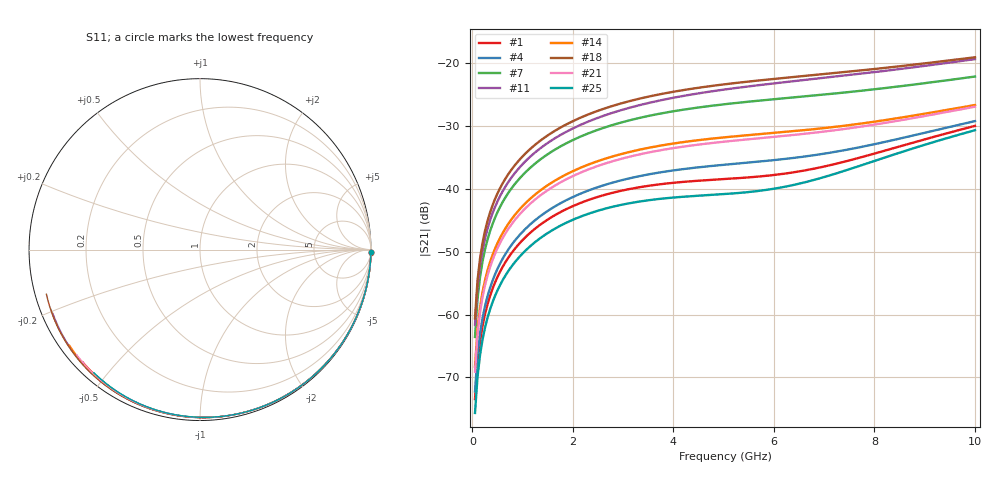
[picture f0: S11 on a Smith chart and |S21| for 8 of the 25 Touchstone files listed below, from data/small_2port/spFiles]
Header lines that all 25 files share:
! freq	dB(S11)	phase(S11)	dB(S12)	phase(S12)
!  dB(S21)	phase(S21)	dB(S22)	phase(S22)
!S-par simulation data
#  GHz  S  DB  R 50
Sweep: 50 MHz to 10 GHz
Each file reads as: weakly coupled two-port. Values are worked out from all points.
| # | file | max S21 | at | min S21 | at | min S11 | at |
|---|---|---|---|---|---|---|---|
| 1 | randomSmallGDS_pixelSize=8_sim=603.s2p | -29.95 dB | 10 GHz | -73.5 dB | 50 MHz | -0.5 dB | 10 GHz |
| 2 | randomSmallGDS_pixelSize=8_sim=604.s2p | -29.60 dB | 10 GHz | -72.7 dB | 50 MHz | -0.4 dB | 10 GHz |
| 3 | randomSmallGDS_pixelSize=8_sim=607.s2p | -30.90 dB | 10 GHz | -77.8 dB | 50 MHz | -0.4 dB | 10 GHz |
| 4 | randomSmallGDS_pixelSize=8_sim=609.s2p | -29.19 dB | 10 GHz | -72.3 dB | 50 MHz | -0.4 dB | 10 GHz |
| 5 | randomSmallGDS_pixelSize=8_sim=610.s2p | -29.59 dB | 10 GHz | -72.7 dB | 50 MHz | -0.4 dB | 10 GHz |
| 6 | randomSmallGDS_pixelSize=8_sim=611.s2p | -29.77 dB | 10 GHz | -73.0 dB | 50 MHz | -0.5 dB | 10 GHz |
| 7 | randomSmallGDS_pixelSize=8_sim=612.s2p | -22.10 dB | 10 GHz | -63.6 dB | 50 MHz | -0.5 dB | 10 GHz |
| 8 | randomSmallGDS_pixelSize=8_sim=613.s2p | -29.65 dB | 10 GHz | -72.7 dB | 50 MHz | -0.4 dB | 10 GHz |
| 9 | randomSmallGDS_pixelSize=8_sim=614.s2p | -16.67 dB | 10 GHz | -60.0 dB | 50 MHz | -0.5 dB | 10 GHz |
| 10 | randomSmallGDS_pixelSize=8_sim=615.s2p | -16.50 dB | 10 GHz | -59.3 dB | 50 MHz | -0.6 dB | 10 GHz |
| 11 | randomSmallGDS_pixelSize=8_sim=617.s2p | -19.33 dB | 10 GHz | -61.6 dB | 50 MHz | -0.6 dB | 10 GHz |
| 12 | randomSmallGDS_pixelSize=8_sim=618.s2p | -27.11 dB | 10 GHz | -68.5 dB | 50 MHz | -0.5 dB | 10 GHz |
| 13 | randomSmallGDS_pixelSize=8_sim=619.s2p | -29.66 dB | 10 GHz | -72.7 dB | 50 MHz | -0.4 dB | 10 GHz |
| 14 | randomSmallGDS_pixelSize=8_sim=620.s2p | -26.63 dB | 10 GHz | -68.3 dB | 50 MHz | -0.5 dB | 10 GHz |
| 15 | randomSmallGDS_pixelSize=8_sim=621.s2p | -13.25 dB | 10 GHz | -57.2 dB | 50 MHz | -0.7 dB | 10 GHz |
| 16 | randomSmallGDS_pixelSize=8_sim=624.s2p | -28.31 dB | 10 GHz | -70.2 dB | 50 MHz | -0.4 dB | 10 GHz |
| 17 | randomSmallGDS_pixelSize=8_sim=626.s2p | -21.70 dB | 10 GHz | -63.9 dB | 50 MHz | -0.5 dB | 10 GHz |
| 18 | randomSmallGDS_pixelSize=8_sim=629.s2p | -19.03 dB | 10 GHz | -60.6 dB | 50 MHz | -0.6 dB | 10 GHz |
| 19 | randomSmallGDS_pixelSize=8_sim=630.s2p | -24.55 dB | 10 GHz | -66.2 dB | 50 MHz | -0.5 dB | 10 GHz |
| 20 | randomSmallGDS_pixelSize=8_sim=631.s2p | -24.86 dB | 10 GHz | -66.7 dB | 50 MHz | -0.5 dB | 10 GHz |
| 21 | randomSmallGDS_pixelSize=8_sim=632.s2p | -26.91 dB | 10 GHz | -69.1 dB | 50 MHz | -0.5 dB | 10 GHz |
| 22 | randomSmallGDS_pixelSize=8_sim=633.s2p | -30.61 dB | 10 GHz | -76.3 dB | 50 MHz | -0.4 dB | 10 GHz |
| 23 | randomSmallGDS_pixelSize=8_sim=635.s2p | -19.74 dB | 10 GHz | -62.0 dB | 50 MHz | -0.5 dB | 10 GHz |
| 24 | randomSmallGDS_pixelSize=8_sim=637.s2p | -14.85 dB | 10 GHz | -57.9 dB | 50 MHz | -0.7 dB | 10 GHz |
| 25 | randomSmallGDS_pixelSize=8_sim=640.s2p | -30.64 dB | 10 GHz | -75.7 dB | 50 MHz | -0.4 dB | 10 GHz |
